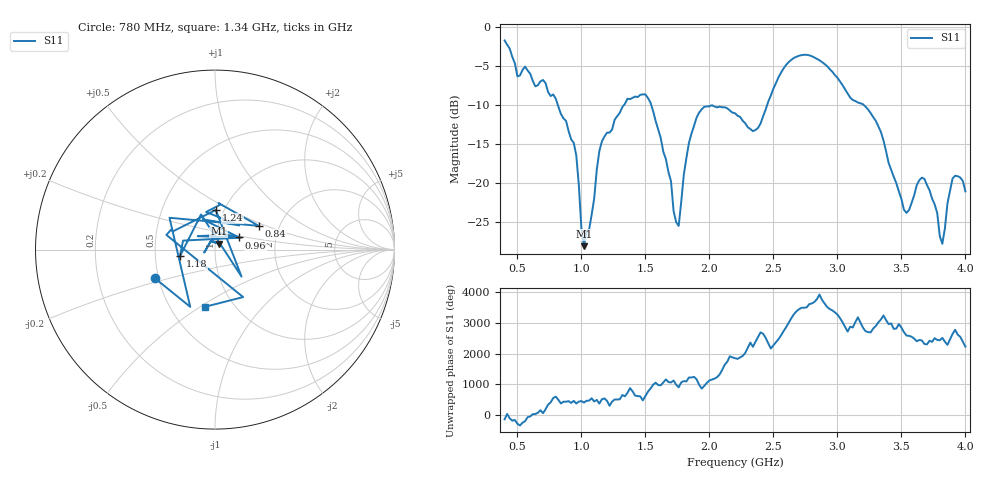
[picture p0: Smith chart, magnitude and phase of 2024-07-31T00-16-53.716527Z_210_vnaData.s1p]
!Created with skrf (http://scikit-rf.org).
# Hz S RI R 50.0
!freq ReS11 ImS11
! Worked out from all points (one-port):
!   181 points, 400 MHz to 4 GHz, reference 50 ohm
!   lowest |S11| = -28.1 dB at 1.02 GHz (marker M1), VSWR 1.08, Z = 52.1 + j3.45 ohm
!   |S11| at or under -10 dB: 816.2 MHz to 1.332 GHz (515.6 MHz wide, 48 % of centre); 1.546 GHz to 2.451 GHz (904.8 MHz wide, 45.3 % of centre); 3.208 GHz to end of sweep
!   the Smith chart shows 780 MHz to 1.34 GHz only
!   S11 on the Smith chart (normalised r, x): 780 MHz: 0.48, -0.18; 840 MHz: 1.57, +0.45; 960 MHz: 1.30, +0.18; 1.18 GHz: 0.67, -0.05; 1.24 GHz: 0.91, +0.42; 1.34 GHz: 0.74, -0.53
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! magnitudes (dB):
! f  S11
! 400 MHz  -1.7
! 500 MHz  -6.3
! 560 MHz  -5.0
! 780 MHz  -8.6
! 840 MHz  -11.1
! 860 MHz  -11.7
! 960 MHz  -16.5
! 1.02 GHz  -28.1
! 1.18 GHz  -14.0
! 1.24 GHz  -13.1
! 1.3 GHz  -11.0
! 1.34 GHz  -9.8
! 1.54 GHz  -9.7
! 1.76 GHz  -25.5
! 1.82 GHz  -16.8
! 1.9 GHz  -11.6
! 2.2 GHz  -11.0
! 2.38 GHz  -12.9
! 2.66 GHz  -3.9
! 2.88 GHz  -4.5
! 3.1 GHz  -9.0
! 3.3 GHz  -12.0
! 3.52 GHz  -23.4
! 3.56 GHz  -23.5
! 3.68 GHz  -19.5
! 3.82 GHz  -27.8
! 3.9 GHz  -19.4
! 4 GHz  -21.1
